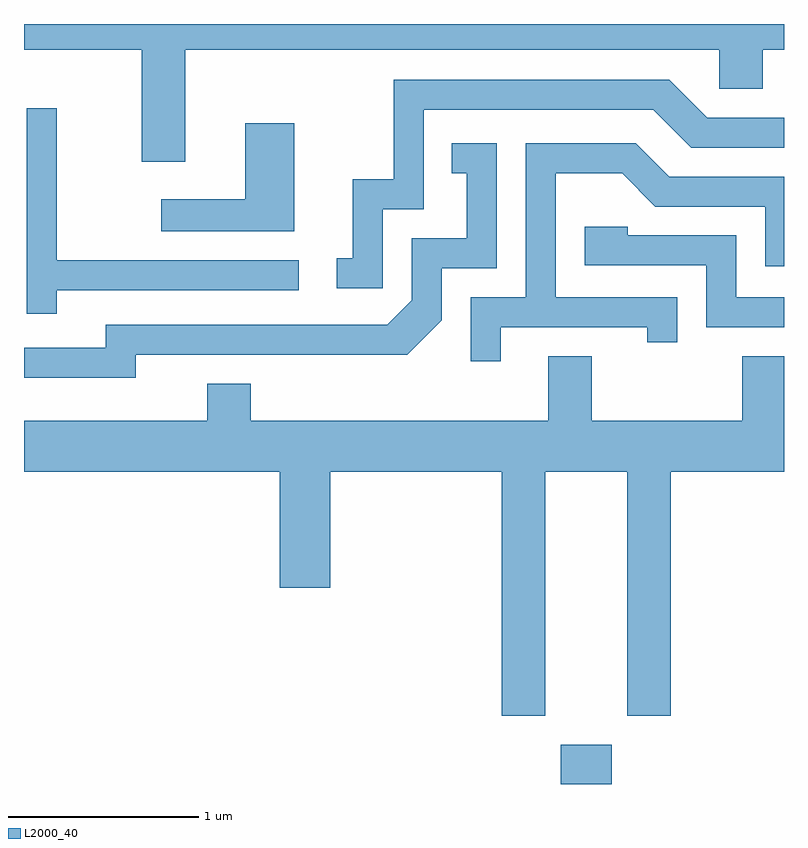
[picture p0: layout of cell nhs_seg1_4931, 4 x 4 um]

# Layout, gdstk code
import gdstk
lib = gdstk.Library(unit=1e-6, precision=1e-09)
def R(c, l, rs):  # rectangles x0, y0, x1, y1
    for r in rs: c.add(gdstk.rectangle(r[:2], r[2:], *l))
def P(c, l, *ps):  # polygons
    for p in ps: c.add(gdstk.Polygon(p, *l))
L2000_40 = (2000, 40)

nhs_seg1_4931 = lib.new_cell('nhs_seg1_4931')
R(nhs_seg1_4931, L2000_40, [(336.436,895.712,336.704,895.919)])
P(nhs_seg1_4931, L2000_40, [(334.459,899.576),(337.271,899.576),(337.271,899.371),(337.499,899.371),(337.499,899.576),(337.611,899.576),(337.611,899.712),(333.611,899.712),(333.611,899.576),(334.231,899.576),(334.231,898.986),(334.459,898.986)],
  [(335.499,898.736),(335.714,898.736),(335.714,899.261),(336.924,899.261),(337.124,899.061),(337.611,899.061),(337.611,899.219),(337.207,899.219),(337.007,899.419),(335.556,899.419),(335.556,898.894),(335.341,898.894),(335.341,898.479),(335.258,898.479),(335.258,898.321),(335.499,898.321)],
  [(333.784,898.311),(335.058,898.311),(335.058,898.469),(333.784,898.469),(333.784,899.268),(333.626,899.268),(333.626,898.188),(333.784,898.188)],
  [(335.034,899.189),(334.776,899.189),(334.776,898.789),(334.333,898.789),(334.333,898.621),(335.034,898.621)],
  [(336.119,898.116),(336.891,898.116),(336.891,898.038),(337.049,898.038),(337.049,898.274),(336.409,898.274),(336.409,898.926),(336.759,898.926),(336.934,898.751),(337.511,898.751),(337.511,898.436),(337.611,898.436),(337.611,898.909),(337.007,898.909),(336.832,899.084),(336.251,899.084),(336.251,898.274),(335.961,898.274),(335.961,897.938),(336.119,897.938)],
  [(334.199,897.971),(335.627,897.971),(335.809,898.154),(335.809,898.426),(336.099,898.426),(336.099,899.084),(335.863,899.084),(335.863,898.926),(335.941,898.926),(335.941,898.584),(335.651,898.584),(335.651,898.257),(335.524,898.129),(334.041,898.129),(334.041,898.009),(333.611,898.009),(333.611,897.851),(334.199,897.851)],
  [(337.611,898.274),(337.359,898.274),(337.359,898.599),(336.789,898.599),(336.789,898.644),(336.561,898.644),(336.561,898.441),(337.201,898.441),(337.201,898.116),(337.611,898.116)],
  [(336.354,897.356),(336.786,897.356),(336.786,896.071),(337.014,896.071),(337.014,897.356),(337.611,897.356),(337.611,897.964),(337.391,897.964),(337.391,897.624),(336.599,897.624),(336.599,897.964),(336.371,897.964),(336.371,897.624),(334.804,897.624),(334.804,897.819),(334.576,897.819),(334.576,897.624),(333.611,897.624),(333.611,897.356),(334.956,897.356),(334.956,896.746),(335.224,896.746),(335.224,897.356),(336.126,897.356),(336.126,896.071),(336.354,896.071)])

lib.write_gds('nhs_seg1_4931.gds')
